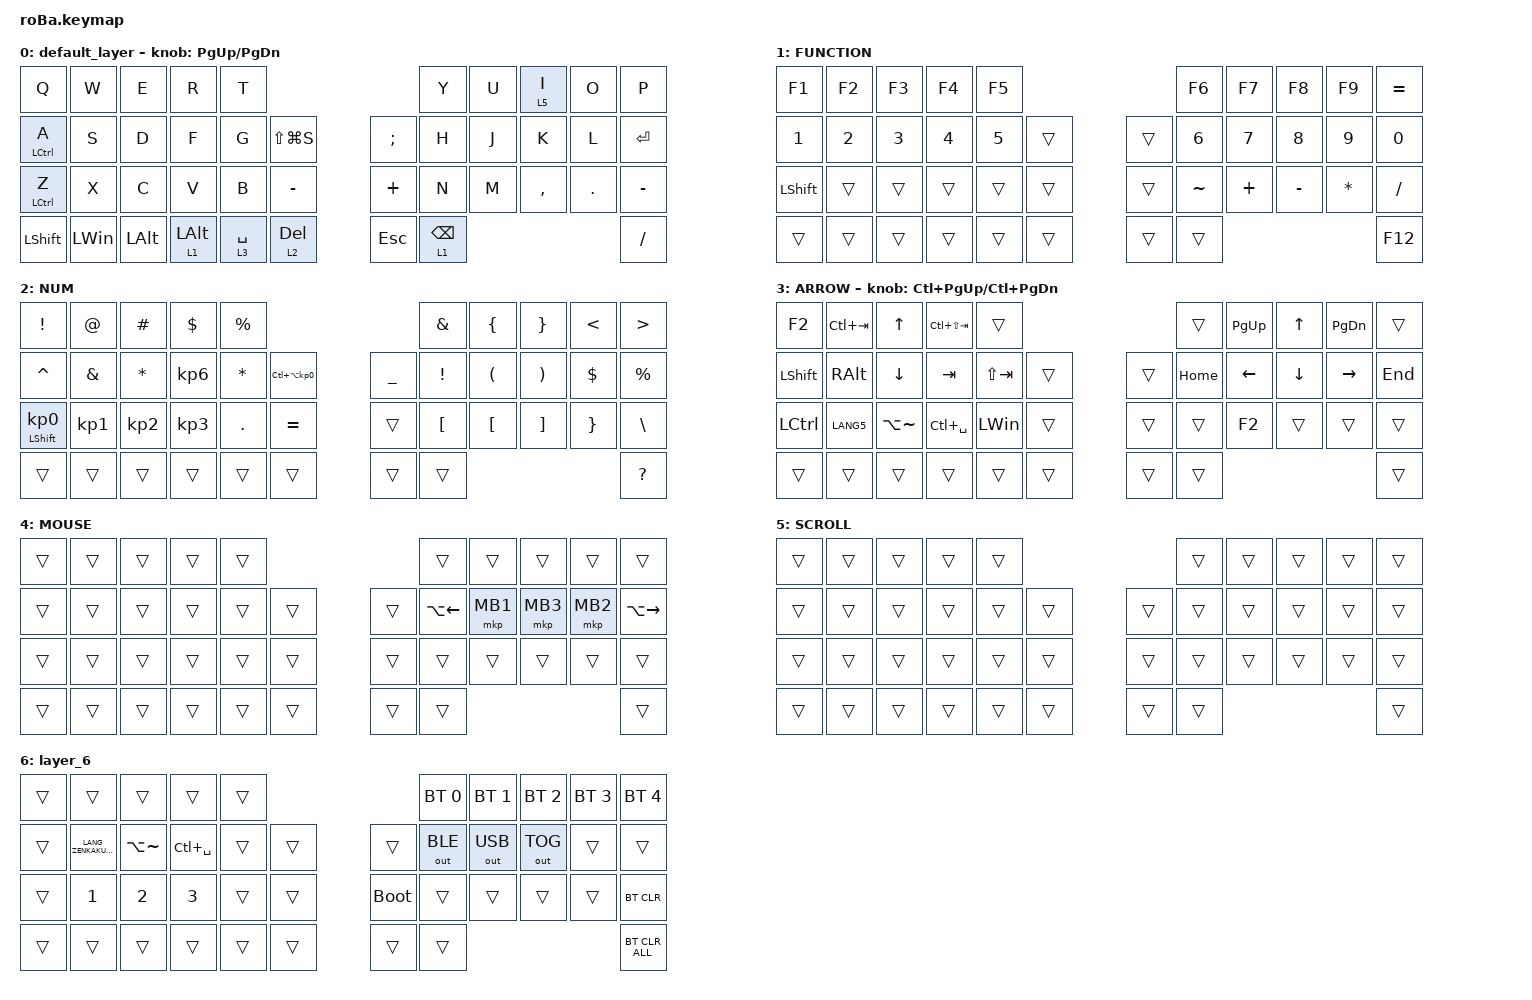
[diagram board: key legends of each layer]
#include <behaviors.dtsi>
#include <dt-bindings/zmk/bt.h>
#include <dt-bindings/zmk/keys.h>
#include <dt-bindings/zmk/outputs.h>
#include <dt-bindings/zmk/pointing.h>

#define MOUSE 4
#define SCROLL 5
#define NUM 6

&mt {
    flavor = "balanced";
    quick-tap-ms = <0>;
};

/ {
    combos {
        compatible = "zmk,combos";

        tab {
            bindings = <&kp TAB>;
            key-positions = <11 12>;
        };

        shift_tab {
            bindings = <&kp LS(TAB)>;
            key-positions = <12 13>;
        };

        muhennkann {
            bindings = <&to_layer_0 INT_MUHENKAN>;
            key-positions = <11 10>;
        };

        double_quotation {
            bindings = <&kp DOUBLE_QUOTES>;
            key-positions = <20 21>;
        };

        eq {
            bindings = <&kp EQUAL>;
            key-positions = <8 9>;
        };

        tilde {
            bindings = <&kp TILDE>;
            key-positions = <0 1>;
        };
    };

    macros {
        to_layer_0: to_layer_0 {
            compatible = "zmk,behavior-macro-one-param";
            #binding-cells = <1>;
            bindings = <&to 0 &macro_param_1to1 &kp MACRO_PLACEHOLDER>;
            label = "TO_LAYER_0";
        };
    };

    behaviors {
        lt_to_layer_0: lt_to_layer_0 {
            compatible = "zmk,behavior-hold-tap";
            label = "LAYER_TAP_TO_0";
            bindings = <&mo>, <&to_layer_0>;

            #binding-cells = <2>;
            tapping-term-ms = <200>;
        };
    };

    keymap {
        compatible = "zmk,keymap";

        default_layer {
            bindings = <
&kp Q               &kp W         &kp E         &kp R                      &kp T                                                 &kp Y            &kp U  &lt 5 I    &kp O    &kp P
&mt LEFT_CONTROL A  &kp S         &kp D         &kp F                      &kp G        &kp LS(LG(S))                &kp SEMI    &kp H            &kp J  &kp K      &kp L    &kp ENTER
&mt LEFT_CONTROL Z  &kp X         &kp C         &kp V                      &kp B        &kp MINUS                    &kp PLUS    &kp N            &kp M  &kp COMMA  &kp DOT  &kp MINUS
&kp LEFT_SHIFT      &kp LEFT_WIN  &kp LEFT_ALT  &lt_to_layer_0 1 LEFT_ALT  &lt 3 SPACE  &lt_to_layer_0 2 DELETE      &kp ESCAPE  &lt 1 BACKSPACE                             &kp SLASH
            >;

            sensor-bindings = <&inc_dec_kp PG_UP PAGE_DOWN>;
        };

        FUNCTION {
            bindings = <
&kp F1          &kp F2        &kp F3        &kp F4        &kp F5                      &kp F6        &kp F7    &kp F8     &kp F9        &kp EQUAL
&kp NUMBER_1    &kp NUMBER_2  &kp NUMBER_3  &kp NUMBER_4  &kp N5  &trans      &trans  &kp NUMBER_6  &kp N7    &kp N8     &kp N9        &kp N0
&kp LEFT_SHIFT  &trans        &trans        &trans        &trans  &trans      &trans  &kp TILDE     &kp PLUS  &kp MINUS  &kp ASTERISK  &kp SLASH
&trans          &trans        &trans        &trans        &trans  &trans      &trans  &trans                                           &kp F12
            >;
        };

        NUM {
            bindings = <
&kp EXCLAMATION             &kp AT_SIGN      &kp HASH         &kp DOLLAR       &kp PERCENT                                                &kp AMPERSAND     &kp LEFT_BRACE        &kp RIGHT_BRACE        &kp LESS_THAN    &kp GREATER_THAN
&kp CARET                   &kp AMPERSAND    &kp ASTERISK     &kp KP_NUMBER_6  &kp ASTERISK  &kp LC(LA(KP_NUMBER_0))      &kp UNDERSCORE  &kp EXCLAMATION   &kp LEFT_PARENTHESIS  &kp RIGHT_PARENTHESIS  &kp DOLLAR       &kp PERCENT
&mt LEFT_SHIFT KP_NUMBER_0  &kp KP_NUMBER_1  &kp KP_NUMBER_2  &kp KP_NUMBER_3  &kp PERIOD    &kp EQUAL                    &trans          &kp LEFT_BRACKET  &kp LEFT_BRACKET      &kp RIGHT_BRACKET      &kp RIGHT_BRACE  &kp BACKSLASH
&trans                      &trans           &trans           &trans           &trans        &trans                       &trans          &trans                                                                          &kp QUESTION
            >;
        };

        ARROW {
            bindings = <
&kp F2            &kp LC(TAB)    &kp UP_ARROW    &kp LC(LS(TAB))  &trans                            &trans    &kp PAGE_UP     &kp UP_ARROW    &kp PAGE_DOWN    &trans
&kp LEFT_SHIFT    &kp RIGHT_ALT  &kp DOWN_ARROW  &kp TAB          &kp LS(TAB)   &trans      &trans  &kp HOME  &kp LEFT_ARROW  &kp DOWN_ARROW  &kp RIGHT_ARROW  &kp END
&kp LEFT_CONTROL  &kp LANG5      &kp LA(TILDE)   &kp LC(SPACE)    &kp LEFT_WIN  &trans      &trans  &trans    &kp F2          &trans          &trans           &trans
&trans            &trans         &trans          &trans           &trans        &trans      &trans  &trans                                                     &trans
            >;

            sensor-bindings = <&inc_dec_kp LC(PAGE_UP) LC(PAGE_DOWN)>;
        };

        MOUSE {
            bindings = <
&trans  &trans  &trans  &trans  &trans                      &trans              &trans    &trans    &trans    &trans
&trans  &trans  &trans  &trans  &trans  &trans      &trans  &kp LA(LEFT_ARROW)  &mkp MB1  &mkp MB3  &mkp MB2  &kp LA(RIGHT_ARROW)
&trans  &trans  &trans  &trans  &trans  &trans      &trans  &trans              &trans    &trans    &trans    &trans
&trans  &trans  &trans  &trans  &trans  &trans      &trans  &trans                                            &trans
            >;
        };

        SCROLL {
            bindings = <
&trans  &trans  &trans  &trans  &trans                      &trans  &trans  &trans  &trans  &trans
&trans  &trans  &trans  &trans  &trans  &trans      &trans  &trans  &trans  &trans  &trans  &trans
&trans  &trans  &trans  &trans  &trans  &trans      &trans  &trans  &trans  &trans  &trans  &trans
&trans  &trans  &trans  &trans  &trans  &trans      &trans  &trans                          &trans
            >;
        };

        layer_6 {
            bindings = <
&trans  &trans                   &trans         &trans         &trans                           &bt BT_SEL 0  &bt BT_SEL 1  &bt BT_SEL 2  &bt BT_SEL 3  &bt BT_SEL 4
&trans  &kp LANG_ZENKAKUHANKAKU  &kp LA(TILDE)  &kp LC(SPACE)  &trans  &trans      &trans       &out OUT_BLE  &out OUT_USB  &out OUT_TOG  &trans        &trans
&trans  &kp NUMBER_1             &kp NUMBER_2   &kp NUMBER_3   &trans  &trans      &bootloader  &trans        &trans        &trans        &trans        &bt BT_CLR
&trans  &trans                   &trans         &trans         &trans  &trans      &trans       &trans                                                  &bt BT_CLR_ALL
            >;
        };
    };
};
